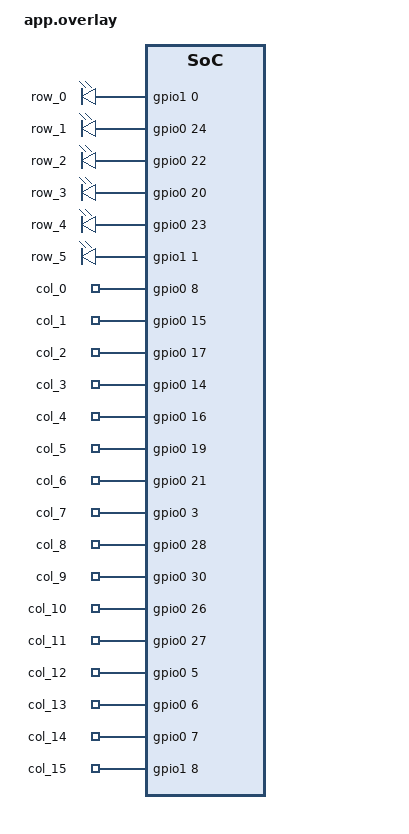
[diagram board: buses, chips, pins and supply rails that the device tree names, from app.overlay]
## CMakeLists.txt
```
cmake_minimum_required(VERSION 3.20.0)
find_package(Zephyr REQUIRED HINTS $ENV{ZEPHYR_BASE})

project(KeyBored_test)

include(${ZEPHYR_BASE}/samples/subsys/usb/common/common.cmake)

FILE(GLOB app_sources src/*.c)
target_sources(app PRIVATE
  ${app_sources}
  )
```

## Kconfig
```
# /* Copyright 2026 Nok Hin, Siu

# Licensed under the Apache License, Version 2.0 (the "License");
# you may not use this file except in compliance with the License.
# You may obtain a copy of the License at

#     http://www.apache.org/licenses/LICENSE-2.0

# Unless required by applicable law or agreed to in writing, software
# distributed under the License is distributed on an "AS IS" BASIS,
# WITHOUT WARRANTIES OR CONDITIONS OF ANY KIND, either express or implied.
# See the License for the specific language governing permissions and
# limitations under the License. */

config SAMPLE_USBD_REMOTE_WAKEUP
	default y

source "samples/subsys/usb/common/Kconfig.sample_usbd"

source "Kconfig.zephyr"
```

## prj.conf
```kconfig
CONFIG_MAIN_STACK_SIZE=10240
CONFIG_SYSTEM_WORKQUEUE_STACK_SIZE=10240
CONFIG_HEAP_MEM_POOL_SIZE=10240

CONFIG_USB_DEVICE_STACK_NEXT=y
CONFIG_USBD_HID_SUPPORT=y
CONFIG_SAMPLE_USBD_MANUFACTURER="GitHub: tomertomism"
CONFIG_SAMPLE_USBD_PRODUCT="KeyBored in USB"
CONFIG_SAMPLE_USBD_PID=0x0008

CONFIG_BT=y
CONFIG_BT_SMP=y
#CONFIG_BT_HOGP=y
CONFIG_BT_PERIPHERAL=y
CONFIG_BT_DEVICE_NAME="KeyBored in BLE"
CONFIG_BT_DEVICE_APPEARANCE=961
#CONFIG_BT_L2CAP_DYNAMIC_CHANNEL=y
#CONFIG_BT_ATT_PREPARE_COUNT=5
#CONFIG_BT_GATT_DYNAMIC_DB=y
CONFIG_BT_BAS=y

#CONFIG_BT_DIS=y
#CONFIG_BT_DIS_PNP=y
#CONFIG_BT_DIS_MODEL_NUMBER=n
#CONFIG_BT_DIS_MANUF_NAME_STR="GitHub: tomertomism"

CONFIG_BT_SETTINGS=y
CONFIG_BT_PRIVACY=y
CONFIG_FLASH=y
CONFIG_FLASH_MAP=y
CONFIG_NVS=y
CONFIG_SETTINGS=y

CONFIG_GPIO=y
CONFIG_ADC=y
#CONFIG_ADC_NRFX_SAADC=y
CONFIG_SENSOR=y
CONFIG_QDEC_NRFX=y

CONFIG_I2S=y
#CONFIG_I2S_NRFX=y
CONFIG_LED_STRIP=y
CONFIG_WS2812_STRIP_I2S=y

CONFIG_LOG=y
CONFIG_LOG_DEFAULT_LEVEL=2
#CONFIG_USBD_LOG_LEVEL_DBG=y
#CONFIG_USBD_HID_LOG_LEVEL_DBG=y
#CONFIG_UDC_DRIVER_LOG_LEVEL_DBG=y
#CONFIG_I2S_LOG_LEVEL_DBG=y
#CONFIG_LED_STRIP_LOG_LEVEL_DBG=y
#CONFIG_BT_HCI_ERR_TO_STR=y
#CONFIG_BT_SECURITY_ERR_TO_STR=y

CONFIG_WATCHDOG=y
CONFIG_TIMEOUT_64BIT=y
#CONFIG_REBOOT=y
```

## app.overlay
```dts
/* Copyright 2026 Nok Hin, Siu

Licensed under the Apache License, Version 2.0 (the "License");
you may not use this file except in compliance with the License.
You may obtain a copy of the License at

    http://www.apache.org/licenses/LICENSE-2.0

Unless required by applicable law or agreed to in writing, software
distributed under the License is distributed on an "AS IS" BASIS,
WITHOUT WARRANTIES OR CONDITIONS OF ANY KIND, either express or implied.
See the License for the specific language governing permissions and
limitations under the License. */

&pinctrl {
	uart0_default: uart0_default {
		group1 {
			psels = <NRF_PSEL(UART_TX, 1,  7)>,
				<NRF_PSEL(UART_RX, 1,  5)>;
		};
	};

	uart0_sleep: uart0_sleep {
		group1 {
			psels = <NRF_PSEL(UART_TX, 1,  7)>,
				<NRF_PSEL(UART_RX, 1,  5)>;
			low-power-enable;
		};
	};

	i2s_default: i2s_default {
		group1 {
			psels = <NRF_PSEL(I2S_SCK_M, 1, 11)>,
				<NRF_PSEL(I2S_SDOUT, 0,  2)>,
				<NRF_PSEL(I2S_LRCK_M, 1, 12)>;
		};
	};

	i2s_sleep: i2s_sleep {
		group1 {
			psels = <NRF_PSEL(I2S_SCK_M, 1, 11)>,
				<NRF_PSEL(I2S_SDOUT, 0,  2)>,
				<NRF_PSEL(I2S_LRCK_M, 1, 12)>;
			low-power-enable;
		};
	};
};

/ {
	hid_dev_0: hid_dev_0 {
		compatible = "zephyr,hid-device";
		label = "HID0";
		protocol-code = "keyboard";
		in-report-size = <64>;
		in-polling-period-us = <1000>;
		out-report-size = <64>;
		out-polling-period-us = <10000>;
	};

	row_scan_array: row_scan_array {
		compatible = "gpio-leds";
		// row_0  { gpios = <&gpio0  5 GPIO_ACTIVE_LOW>; };
		// row_1  { gpios = <&gpio0  6 GPIO_ACTIVE_LOW>; };
		// row_2  { gpios = <&gpio0  7 GPIO_ACTIVE_LOW>; };
		// row_3  { gpios = <&gpio0  8 GPIO_ACTIVE_LOW>; };
		// row_4  { gpios = <&gpio0  9 GPIO_ACTIVE_LOW>; };
		// row_5  { gpios = <&gpio0 10 GPIO_ACTIVE_LOW>; };

		row_0  { gpios = <&gpio1  0 (GPIO_PULL_DOWN | GPIO_ACTIVE_HIGH)>; };
		row_1  { gpios = <&gpio0 24 (GPIO_PULL_DOWN | GPIO_ACTIVE_HIGH)>; };
		row_2  { gpios = <&gpio0 22 (GPIO_PULL_DOWN | GPIO_ACTIVE_HIGH)>; };
		row_3  { gpios = <&gpio0 20 (GPIO_PULL_DOWN | GPIO_ACTIVE_HIGH)>; };
		row_4  { gpios = <&gpio0 23 (GPIO_PULL_DOWN | GPIO_ACTIVE_HIGH)>; };
		row_5  { gpios = <&gpio1  1 (GPIO_PULL_DOWN | GPIO_ACTIVE_HIGH)>; };
	};

	col_scan_array: col_scan_array {
		compatible = "gpio-keys";
		// col_0  { gpios = <&gpio1  0 (GPIO_PULL_DOWN | GPIO_ACTIVE_LOW)>; };
		// col_1  { gpios = <&gpio1  1 (GPIO_PULL_DOWN | GPIO_ACTIVE_LOW)>; };
		// col_2  { gpios = <&gpio1  2 (GPIO_PULL_DOWN | GPIO_ACTIVE_LOW)>; };
		// col_3  { gpios = <&gpio1  3 (GPIO_PULL_DOWN | GPIO_ACTIVE_LOW)>; };
		// col_4  { gpios = <&gpio1  4 (GPIO_PULL_DOWN | GPIO_ACTIVE_LOW)>; };
		// col_5  { gpios = <&gpio1  5 (GPIO_PULL_DOWN | GPIO_ACTIVE_LOW)>; };
		// col_6  { gpios = <&gpio1  6 (GPIO_PULL_DOWN | GPIO_ACTIVE_LOW)>; };
		// col_7  { gpios = <&gpio1  7 (GPIO_PULL_DOWN | GPIO_ACTIVE_LOW)>; };
		// col_8  { gpios = <&gpio1  8 (GPIO_PULL_DOWN | GPIO_ACTIVE_LOW)>; };
		// col_9  { gpios = <&gpio1  9 (GPIO_PULL_DOWN | GPIO_ACTIVE_LOW)>; };
		// col_10 { gpios = <&gpio1 10 (GPIO_PULL_DOWN | GPIO_ACTIVE_LOW)>; };
		// col_11 { gpios = <&gpio1 11 (GPIO_PULL_DOWN | GPIO_ACTIVE_LOW)>; };
		// col_12 { gpios = <&gpio1 12 (GPIO_PULL_DOWN | GPIO_ACTIVE_LOW)>; };
		// col_13 { gpios = <&gpio1 13 (GPIO_PULL_DOWN | GPIO_ACTIVE_LOW)>; };
		// col_14 { gpios = <&gpio1 14 (GPIO_PULL_DOWN | GPIO_ACTIVE_LOW)>; };
		// col_15 { gpios = <&gpio1 15 (GPIO_PULL_DOWN | GPIO_ACTIVE_LOW)>; };

		col_0  { gpios = <&gpio0  8 (GPIO_PULL_DOWN | GPIO_ACTIVE_HIGH)>; };
		col_1  { gpios = <&gpio0 15 (GPIO_PULL_DOWN | GPIO_ACTIVE_HIGH)>; };
		col_2  { gpios = <&gpio0 17 (GPIO_PULL_DOWN | GPIO_ACTIVE_HIGH)>; };
		col_3  { gpios = <&gpio0 14 (GPIO_PULL_DOWN | GPIO_ACTIVE_HIGH)>; };
		col_4  { gpios = <&gpio0 16 (GPIO_PULL_DOWN | GPIO_ACTIVE_HIGH)>; };
		col_5  { gpios = <&gpio0 19 (GPIO_PULL_DOWN | GPIO_ACTIVE_HIGH)>; };
		col_6  { gpios = <&gpio0 21 (GPIO_PULL_DOWN | GPIO_ACTIVE_HIGH)>; };
		col_7  { gpios = <&gpio0  3 (GPIO_PULL_DOWN | GPIO_ACTIVE_HIGH)>; };
		col_8  { gpios = <&gpio0 28 (GPIO_PULL_DOWN | GPIO_ACTIVE_HIGH)>; };
		col_9  { gpios = <&gpio0 30 (GPIO_PULL_DOWN | GPIO_ACTIVE_HIGH)>; };
		col_10 { gpios = <&gpio0 26 (GPIO_PULL_DOWN | GPIO_ACTIVE_HIGH)>; };
		col_11 { gpios = <&gpio0 27 (GPIO_PULL_DOWN | GPIO_ACTIVE_HIGH)>; };
		col_12 { gpios = <&gpio0  5 (GPIO_PULL_DOWN | GPIO_ACTIVE_HIGH)>; };
		col_13 { gpios = <&gpio0  6 (GPIO_PULL_DOWN | GPIO_ACTIVE_HIGH)>; };
		col_14 { gpios = <&gpio0  7 (GPIO_PULL_DOWN | GPIO_ACTIVE_HIGH)>; };
		col_15 { gpios = <&gpio1  8 (GPIO_PULL_DOWN | GPIO_ACTIVE_HIGH)>; };

		// col_0  { gpios = <&gpio0  8 (GPIO_PULL_UP | GPIO_ACTIVE_LOW)>; };
		// col_1  { gpios = <&gpio0 15 (GPIO_PULL_UP | GPIO_ACTIVE_LOW)>; };
		// col_2  { gpios = <&gpio0 17 (GPIO_PULL_UP | GPIO_ACTIVE_LOW)>; };
		// col_3  { gpios = <&gpio0 14 (GPIO_PULL_UP | GPIO_ACTIVE_LOW)>; };
		// col_4  { gpios = <&gpio0 16 (GPIO_PULL_UP | GPIO_ACTIVE_LOW)>; };
		// col_5  { gpios = <&gpio0 19 (GPIO_PULL_UP | GPIO_ACTIVE_LOW)>; };
		// col_6  { gpios = <&gpio0 21 (GPIO_PULL_UP | GPIO_ACTIVE_LOW)>; };
		// col_7  { gpios = <&gpio0 23 (GPIO_PULL_UP | GPIO_ACTIVE_LOW)>; };
		// col_8  { gpios = <&gpio0 20 (GPIO_PULL_UP | GPIO_ACTIVE_LOW)>; };
		// col_9  { gpios = <&gpio0 22 (GPIO_PULL_UP | GPIO_ACTIVE_LOW)>; };
		// col_10 { gpios = <&gpio0 24 (GPIO_PULL_UP | GPIO_ACTIVE_LOW)>; };
		// col_11 { gpios = <&gpio1  0 (GPIO_PULL_UP | GPIO_ACTIVE_LOW)>; };
		// col_12 { gpios = <&gpio1  1 (GPIO_PULL_UP | GPIO_ACTIVE_LOW)>; };
		// col_13 { gpios = <&gpio0 25 (GPIO_PULL_UP | GPIO_ACTIVE_LOW)>; };
		// col_14 { gpios = <&gpio1  3 (GPIO_PULL_UP | GPIO_ACTIVE_LOW)>; };
		// col_15 { gpios = <&gpio0 29 (GPIO_PULL_UP | GPIO_ACTIVE_LOW)>; };
	};

};

// &uart0 {
//   pinctrl-0 = <&uart0_alt_default>;
//   pinctrl-1 = <&uart0_alt_sleep>;
// };
```

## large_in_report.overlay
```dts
/* Copyright 2026 Nok Hin, Siu

Licensed under the Apache License, Version 2.0 (the "License");
you may not use this file except in compliance with the License.
You may obtain a copy of the License at

    http://www.apache.org/licenses/LICENSE-2.0

Unless required by applicable law or agreed to in writing, software
distributed under the License is distributed on an "AS IS" BASIS,
WITHOUT WARRANTIES OR CONDITIONS OF ANY KIND, either express or implied.
See the License for the specific language governing permissions and
limitations under the License. */

/ {
	hid_dev_0: hid_dev_0 {
		compatible = "zephyr,hid-device";
		label = "HID0";
		in-report-size = <512>;
		in-polling-period-us = <1000>;
	};
};
```

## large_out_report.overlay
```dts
/* Copyright 2026 Nok Hin, Siu

Licensed under the Apache License, Version 2.0 (the "License");
you may not use this file except in compliance with the License.
You may obtain a copy of the License at

    http://www.apache.org/licenses/LICENSE-2.0

Unless required by applicable law or agreed to in writing, software
distributed under the License is distributed on an "AS IS" BASIS,
WITHOUT WARRANTIES OR CONDITIONS OF ANY KIND, either express or implied.
See the License for the specific language governing permissions and
limitations under the License. */

#include "large_in_report.overlay"

/ {
	hid_dev_0: hid_dev_0 {
		compatible = "zephyr,hid-device";
		out-report-size = <512>;
		out-polling-period-us = <1000>;
	};
};
```

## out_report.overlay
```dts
/* Copyright 2026 Nok Hin, Siu

Licensed under the Apache License, Version 2.0 (the "License");
you may not use this file except in compliance with the License.
You may obtain a copy of the License at

    http://www.apache.org/licenses/LICENSE-2.0

Unless required by applicable law or agreed to in writing, software
distributed under the License is distributed on an "AS IS" BASIS,
WITHOUT WARRANTIES OR CONDITIONS OF ANY KIND, either express or implied.
See the License for the specific language governing permissions and
limitations under the License. */

#include "app.overlay"

/ {
	hid_dev_0: hid_dev_0 {
		compatible = "zephyr,hid-device";
		out-report-size = <64>;
		out-polling-period-us = <1000>;
	};
};
```

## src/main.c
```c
/* Copyright 2026 Nok Hin, Siu

Licensed under the Apache License, Version 2.0 (the "License");
you may not use this file except in compliance with the License.
You may obtain a copy of the License at

    http://www.apache.org/licenses/LICENSE-2.0

Unless required by applicable law or agreed to in writing, software
distributed under the License is distributed on an "AS IS" BASIS,
WITHOUT WARRANTIES OR CONDITIONS OF ANY KIND, either express or implied.
See the License for the specific language governing permissions and
limitations under the License. */

#include <sample_usbd.h>

#include <zephyr/kernel/thread.h>
#include <zephyr/device.h>
#include <zephyr/drivers/adc.h>
#include <zephyr/devicetree.h>
#include <zephyr/usb/usbd.h>
#include <zephyr/usb/class/usbd_hid.h>

#include "../inc/editable.h"
#include "../inc/kb_cb.h"
#include "../inc/kb_bt_cb.h"
#include "../inc/main.h"
#include "../inc/keymap_lut.h"
#include "../inc/kb_adc.h"
#include "../inc/kb_scan.h"
#include "../inc/kb_led.h"

#include <zephyr/logging/log.h>
LOG_MODULE_REGISTER(main, LOG_LEVEL_INF);

static const struct device *hid_dev = DEVICE_DT_GET_ONE(zephyr_hid_device);
//static const struct device *adc = DEVICE_DT_GET_ONE(adc);

int main(void){
  int ret = 0;
  struct usbd_context *sample_usbd = 0;
  scan_cfg1.push_report = kb_report_push_usb;
  usb_init(sample_usbd);
  k_msleep(900);

  if (!is_usb_ready) {
    scan_cfg1.push_report = kb_report_push_ble;
    ret = bt_init();
    if (ret) {
      LOG_ERR("BT init failed");
      return 0;
    }
  }

  while (1) {
    k_sleep(K_TICKS(K_TICKS_FOREVER));
  }
  return 0;
}

int usb_init(struct usbd_context *sample_usbd){
  int8_t ret;

  if (!device_is_ready(hid_dev)) {
    LOG_ERR("HID Device is not ready");
    return -EIO;
  }

  k_msleep(100);
  ret = hid_device_register(hid_dev, hid_report_desc, sizeof(hid_report_desc), &kb_ops);
  if (ret != 0) {
    LOG_ERR("Failed to register HID Device, %d", ret);
    return ret;
  }

  sample_usbd = sample_usbd_init_device(msg_cb);
  if (sample_usbd == NULL) {
    LOG_ERR("Failed to initialize USB device");
    return -ENODEV;
  }else
    LOG_INF("sample_usbd: %#08x", (uint32_t) sample_usbd);
  
  if (!usbd_can_detect_vbus(sample_usbd)) {
    /* doc device enable start */
    ret = usbd_enable(sample_usbd);
    if (ret) {
      LOG_ERR("Failed to enable device support");
      return ret;
    }
    /* doc device enable end */
  }
  return ret;
}

int bt_init(){
  int err = 0;

  err = bt_enable(bt_ready);
  if (err) {
    LOG_ERR("Bluetooth init failed (err %d)", err);
    return 0;
  }

  return err;
}
```

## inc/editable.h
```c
/* Copyright 2026 Nok Hin, Siu

Licensed under the Apache License, Version 2.0 (the "License");
you may not use this file except in compliance with the License.
You may obtain a copy of the License at

    http://www.apache.org/licenses/LICENSE-2.0

Unless required by applicable law or agreed to in writing, software
distributed under the License is distributed on an "AS IS" BASIS,
WITHOUT WARRANTIES OR CONDITIONS OF ANY KIND, either express or implied.
See the License for the specific language governing permissions and
limitations under the License. */

#pragma once

#include <stdint.h>

static const uint8_t hid_report_desc[] = {
  0x05, 0x01,                     //  Usage Page (Generic Desktop)
  0x09, 0x06,                     //  Usage (Keyboard)
  0xA1, 0x01,                     //  Collection (Application)

  0x85, 0x01,                     //  Report ID 1

  0x05, 0x07,                     //  Usage Page (Key Codes)
  0x19, 0xe0,                     //  Usage Minimum (Keyboard LeftControl)
  0x29, 0xe7,                     //  Usage Maximum (Keyboard Right GUI)
  0x15, 0x00,                     //  Logical Minimum (0)
  0x25, 0x01,                     //  Logical Maximum (1)
  0x75, 0x01,                     //  Report Size (1 bit)
  0x95, 0x08,                     //  Report Count (8 bits)
  0x81, 0x02,                     //  Input (Data, Variable, Absolute)

  0x05, 0x08,                     //  Usage Page (LEDs)
  0x19, 0x01,                     //  Usage Minimum (Num Lock)
  0x29, 0x05,                     //  Usage Maximum (Kana)
  0x75, 0x01,                     //  Report Size (1)
  0x95, 0x05,                     //  Report Count (5)
  0x91, 0x02,                     //  Output (Data, Variable, Absolute)
  0x75, 0x03,                     //  Report Size (3)
  0x95, 0x01,                     //  Report Count (1)
  0x91, 0x03,                     //  Output (Constant, Variable, Absolute)

  0x05, 0x07,                     //  Usage Page (Key codes)
  0x19, 0x00,                     //  Usage Minimum (Reserved (no event indicated))
  0x29, 0xff,                     //  Usage Maxium (Reserved)a
  0x75, 0x08,                     //  Report Size (8)
  0x95, 0x06,                     //  Report Count (6)
  0x81, 0x00,                     //  Input (Data, Array)
  0xc0,                           //  End collection

  0x05, 0x0C,                     //  Usage Page (Consumer Devices)
  0x09, 0x01,                     //  Usage (Consumer Control)
  0xA1, 0x01,                     //  Collection (Application)

  0x85, 0x02,                     //  Report ID 2

  0x19, 0x00,                     //  Usage Minimum (Reserved (no event indicated))
  0x29, 0xFF,                     //  Usage Maxium (Reserved)
  0x75, 0x08,                     //  Report Size (8)
  0x95, 0x01,                     //  Report Count (1)
  0x81, 0x00,                     //  Input (Data, Ary, Abs)

  0xc0                            //  End collections
};

enum kb_report_id1_idx {
  KB1_REPORT_ID = 0,
  KB1_MOD_KEY,
  KB1_KEY_CODE1,
  KB1_KEY_CODE2,
  KB1_KEY_CODE3,
  KB1_KEY_CODE4,
  KB1_KEY_CODE5,
  KB1_KEY_CODE6,
  KB1_REPORT_COUNT
};

enum kb_report_id2_idx {
  KB2_REPORT_ID = 0,
  KB2_KEY_CODE1,
  KB2_REPORT_COUNT,
};

#define NUMBER_OF_REPORTS 2

/*==kb_cb====================================================================================*/
#define KB_EP_00_REPORT_SIZE 2

/*==kb_bt_cb=================================================================================*/
#define BT_GATT_REPORTS_SERVICE \
  BT_GATT_DESCRIPTOR(BT_UUID_HIDS_REPORT_REF, BT_GATT_PERM_READ, read_report, NULL, &input[0]), \
  BT_GATT_DESCRIPTOR(BT_UUID_HIDS_REPORT_REF, BT_GATT_PERM_READ, read_report, NULL, &input[1])

#define BT_PUSH_REPORTS_PRECHECK !(!report[0] || report[0] <= ARRAY_SIZE(input))

/*==kb_scan==================================================================================*/
#define KB_SCAN_KEY_CB \
  keymap[5][ 1].on_set = kb_scan_fn_gui_set;\
  keymap[5][10].on_set = kb_scan_fn_set;\
  keymap[5][13].on_set = kb_scan_fn_arrow_lt_set;\
  keymap[5][14].on_set = kb_scan_fn_arrow_dn_set;\
  keymap[5][15].on_set = kb_scan_fn_arrow_rt_set;\
  keymap[4][14].on_set = kb_scan_fn_arrow_up_set;\
  keymap[0][11].on_set = kb_scan_fn_f9_set;\
  keymap[0][12].on_set = kb_scan_fn_f10_set;\
  keymap[0][13].on_set = kb_scan_fn_f11_set;\
  keymap[0][14].on_set = kb_scan_fn_f12_set;

void kb_scan_fn_gui_set(void);
void kb_scan_fn_gui_reset(void);
void kb_scan_fn_set(void);
void kb_scan_fn_reset(void);
void kb_scan_fn_arrow_up_set(void);
void kb_scan_fn_arrow_dn_set(void);
void kb_scan_fn_arrow_lt_set(void);
void kb_scan_fn_arrow_rt_set(void);
void kb_scan_fn_arrow_all_reset(void);
void kb_scan_fn_f9_set(void);
void kb_scan_fn_f10_set(void);
void kb_scan_fn_f11_set(void);
void kb_scan_fn_f12_set(void);
void kb_scan_fn_f_all_reset(void);

/*==kb_led===================================================================================*/
#define use_1
//#define use_2

#define KB_LED_MODE_ARRAY \
  kb_led_mode_0, \
  kb_led_mode_1, \
  kb_led_mode_2, \
  kb_led_mode_3, \
  kb_led_mode_4

void kb_led_mode_0(void);
void kb_led_mode_1(void);
void kb_led_mode_2(void);
void kb_led_mode_3(void);
void kb_led_mode_4(void);
```

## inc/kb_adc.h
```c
/* Copyright 2026 Nok Hin, Siu

Licensed under the Apache License, Version 2.0 (the "License");
you may not use this file except in compliance with the License.
You may obtain a copy of the License at

    http://www.apache.org/licenses/LICENSE-2.0

Unless required by applicable law or agreed to in writing, software
distributed under the License is distributed on an "AS IS" BASIS,
WITHOUT WARRANTIES OR CONDITIONS OF ANY KIND, either express or implied.
See the License for the specific language governing permissions and
limitations under the License. */

#pragma once

#include <stdint.h>

int8_t kb_adc_init();
```

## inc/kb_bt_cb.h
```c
/* Copyright 2026 Nok Hin, Siu

Licensed under the Apache License, Version 2.0 (the "License");
you may not use this file except in compliance with the License.
You may obtain a copy of the License at

    http://www.apache.org/licenses/LICENSE-2.0

Unless required by applicable law or agreed to in writing, software
distributed under the License is distributed on an "AS IS" BASIS,
WITHOUT WARRANTIES OR CONDITIONS OF ANY KIND, either express or implied.
See the License for the specific language governing permissions and
limitations under the License. */

#pragma once

#include <zephyr/types.h>
#include <stddef.h>
#include <string.h>
#include <errno.h>
#include <zephyr/sys/byteorder.h>
#include <zephyr/kernel.h>

#include <zephyr/settings/settings.h>

#include <zephyr/bluetooth/bluetooth.h>
#include <zephyr/bluetooth/hci.h>
#include <zephyr/bluetooth/conn.h>
#include <zephyr/bluetooth/uuid.h>
#include <zephyr/bluetooth/gatt.h>

#include "../inc/editable.h"

extern const struct bt_data ad[];
extern const struct bt_data sd[];
extern uint8_t is_using_ble;

void connected(struct bt_conn *conn, uint8_t err);
void disconnected(struct bt_conn *conn, uint8_t reason);
void security_changed(struct bt_conn *conn, bt_security_t level, enum bt_security_err err);

void bt_ready(int err);
void auth_passkey_display(struct bt_conn *conn, unsigned int passkey);
void auth_cancel(struct bt_conn *conn);
extern struct bt_conn_auth_cb auth_cb_display;

extern struct hids_info info;
ssize_t read_info(struct bt_conn *conn, const struct bt_gatt_attr *attr, void *buf, uint16_t len, uint16_t offset);
ssize_t read_report_map(struct bt_conn *conn, const struct bt_gatt_attr *attr, void *buf, uint16_t len, uint16_t offset);
ssize_t read_report(struct bt_conn *conn, const struct bt_gatt_attr *attr, void *buf, uint16_t len, uint16_t offset);
void input_ccc_changed(const struct bt_gatt_attr *attr, uint16_t value);
ssize_t read_input_report(struct bt_conn *conn, const struct bt_gatt_attr *attr, void *buf, uint16_t len, uint16_t offset);
ssize_t write_ctrl_point(struct bt_conn *conn, const struct bt_gatt_attr *attr, const void *buf, uint16_t len, uint16_t offset, uint8_t flags);

// void hog_button_loop(void);
int8_t kb_bt_send_report_id(uint8_t *report, uint8_t size, k_ticks_t delay);

// #define SAMPLE_BT_PERM_READ BT_GATT_PERM_READ_AUTHEN
// #define SAMPLE_BT_PERM_WRITE BT_GATT_PERM_WRITE_AUTHEN

#define SAMPLE_BT_PERM_READ BT_GATT_PERM_READ_ENCRYPT
#define SAMPLE_BT_PERM_WRITE BT_GATT_PERM_WRITE_ENCRYPT

// #define SAMPLE_BT_PERM_READ BT_GATT_PERM_READ
// #define SAMPLE_BT_PERM_WRITE BT_GATT_PERM_WRITE

enum {
	HIDS_REMOTE_WAKE = BIT(0),
	HIDS_NORMALLY_CONNECTABLE = BIT(1),
};

struct hids_info {
	uint16_t version; /* version number of base USB HID Specification */
	uint8_t code; /* country HID Device hardware is localized for. */
	uint8_t flags;
} __packed;

struct hids_report {
	uint8_t id; /* report id */
	uint8_t type; /* report type */
} __packed;

enum {
	HIDS_INPUT = 0x01,
	HIDS_OUTPUT = 0x02,
	HIDS_FEATURE = 0x03,
};

extern struct hids_report input[NUMBER_OF_REPORTS];
extern uint8_t ctrl_point;
extern uint8_t is_ble_ready;
```

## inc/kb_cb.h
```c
/* Copyright 2026 Nok Hin, Siu

Licensed under the Apache License, Version 2.0 (the "License");
you may not use this file except in compliance with the License.
You may obtain a copy of the License at

    http://www.apache.org/licenses/LICENSE-2.0

Unless required by applicable law or agreed to in writing, software
distributed under the License is distributed on an "AS IS" BASIS,
WITHOUT WARRANTIES OR CONDITIONS OF ANY KIND, either express or implied.
See the License for the specific language governing permissions and
limitations under the License. */

#pragma once

#include <stdint.h>
#include <stdlib.h>
#include <stdbool.h>
#include <zephyr/usb/usbd.h>
#include <zephyr/usb/class/usbd_hid.h>

#include "../inc/editable.h"

extern const struct hid_device_ops kb_ops;

extern uint32_t kb_duration;
extern bool is_usb_ready;

#define KB_EP_00_REPORT_SET 0x80
extern uint8_t kb_ep_00_report[KB_EP_00_REPORT_SIZE];

void msg_cb(struct usbd_context *const usbd_ctx, const struct usbd_msg *const msg);
void kb_iface_ready(const struct device *dev, const bool ready);
int kb_get_report(const struct device *dev, const uint8_t type, const uint8_t id, const uint16_t len, uint8_t *const buf);
int kb_set_report(const struct device *dev, const uint8_t type, const uint8_t id, const uint16_t len, const uint8_t *const buf);
void kb_set_idle(const struct device *dev, const uint8_t id, const uint32_t duration);
uint32_t kb_get_idle(const struct device *dev, const uint8_t id);
void kb_set_protocol(const struct device *dev, const uint8_t proto);
void kb_output_report(const struct device *dev, const uint16_t len, const uint8_t *const buf);
```

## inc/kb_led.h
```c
/* Copyright 2026 Nok Hin, Siu

Licensed under the Apache License, Version 2.0 (the "License");
you may not use this file except in compliance with the License.
You may obtain a copy of the License at

    http://www.apache.org/licenses/LICENSE-2.0

Unless required by applicable law or agreed to in writing, software
distributed under the License is distributed on an "AS IS" BASIS,
WITHOUT WARRANTIES OR CONDITIONS OF ANY KIND, either express or implied.
See the License for the specific language governing permissions and
limitations under the License. */

#pragma once

#include <zephyr/sys_clock.h>
#include <zephyr/drivers/led_strip.h>
#include <zephyr/fs/fs.h>
#include <zephyr/fs/nvs.h>
#include <zephyr/drivers/flash.h>
#include <zephyr/storage/flash_map.h>
#include <stdint.h>

#include "../inc/editable.h"

#define LUT_SIZE 360

enum kb_led_brightness{
  KB_LED_BRT_0 = 0,
  KB_LED_BRT_1 = 3,
  KB_LED_BRT_2 = 11,
  KB_LED_BRT_3 = 25,
  KB_LED_BRT_4 = 45,
  KB_LED_BRT_5 = 70,
  KB_LED_BRT_6 = 100
};

typedef struct {
  uint8_t mode;
  uint16_t speed_delay;
  uint16_t hue_angle_seed;
  uint8_t brightness_idx;
  struct led_rgb colour[DT_PROP(DT_NODELABEL(led_strip), chain_length)];
}__packed(kb_led_t);

extern kb_led_t led_cfg1;
extern struct nvs_fs nvs_cfg1;

void kb_run_led(void);

void kb_led_brt_inc(void);
void kb_led_brt_dec(void);
void kb_led_spd_inc(void);
void kb_led_spd_dec(void);
void kb_led_mod_inc(void);
void kb_led_mod_dec(void);
void kb_led_hue_inc(void);
void kb_led_hue_dec(void);

static const uint8_t hue2r[LUT_SIZE] = {
#if defined (use_1)
  255, 255, 255, 255, 255, 255, 255, 255, 255, 255, 255, 255,
  255, 255, 255, 255, 255, 255, 255, 255, 255, 255, 255, 255,
  255, 255, 255, 255, 255, 255, 255, 255, 255, 255, 255, 255,
  255, 255, 255, 255, 255, 255, 255, 255, 255, 255, 255, 255,
  255, 255, 255, 255, 255, 255, 255, 255, 255, 255, 255, 255,
  255, 251, 246, 242, 238, 234, 229, 225, 221, 217, 212, 208,
  204, 200, 195, 191, 187, 183, 178, 174, 170, 166, 161, 157,
  153, 149, 144, 140, 136, 132, 127, 123, 119, 115, 110, 106,
  102,  98,  93,  89,  85,  81,  76,  72,  68,  64,  59,  55,
   51,  47,  42,  38,  34,  30,  25,  21,  17,  13,   8,   4,
    0,   0,   0,   0,   0,   0,   0,   0,   0,   0,   0,   0,
    0,   0,   0,   0,   0,   0,   0,   0,   0,   0,   0,   0,
    0,   0,   0,   0,   0,   0,   0,   0,   0,   0,   0,   0,
    0,   0,   0,   0,   0,   0,   0,   0,   0,   0,   0,   0,
    0,   0,   0,   0,   0,   0,   0,   0,   0,   0,   0,   0,
    0,   0,   0,   0,   0,   0,   0,   0,   0,   0,   0,   0,
    0,   0,   0,   0,   0,   0,   0,   0,   0,   0,   0,   0,
    0,   0,   0,   0,   0,   0,   0,   0,   0,   0,   0,   0,
    0,   0,   0,   0,   0,   0,   0,   0,   0,   0,   0,   0,
    0,   0,   0,   0,   0,   0,   0,   0,   0,   0,   0,   0,
    0,   4,   8,  13,  17,  21,  25,  30,  34,  38,  42,  47,
   51,  55,  59,  64,  68,  72,  76,  81,  85,  89,  93,  98,
  102, 106, 110, 115, 119, 123, 127, 132, 136, 140, 144, 149,
  153, 157, 161, 166, 170, 174, 178, 183, 187, 191, 195, 200,
  204, 208, 212, 217, 221, 225, 229, 234, 238, 242, 246, 251,
  255, 255, 255, 255, 255, 255, 255, 255, 255, 255, 255, 255,
  255, 255, 255, 255, 255, 255, 255, 255, 255, 255, 255, 255,
  255, 255, 255, 255, 255, 255, 255, 255, 255, 255, 255, 255,
  255, 255, 255, 255, 255, 255, 255, 255, 255, 255, 255, 255,
  255, 255, 255, 255, 255, 255, 255, 255, 255, 255, 255, 255
#endif
#if defined(use_2)
  255, 255, 255, 255, 255, 255, 255, 255, 255, 255, 255, 255,
  255, 255, 255, 255, 255, 255, 255, 255, 255, 255, 255, 255,
  255, 255, 255, 255, 255, 255, 255, 255, 255, 255, 255, 255,
  255, 255, 255, 255, 255, 255, 255, 255, 255, 255, 255, 255,
  255, 255, 255, 255, 255, 255, 255, 255, 255, 255, 255, 255,
  255, 248, 241, 234, 227, 220, 214, 207, 201, 194, 188, 182,
  176, 170, 164, 158, 152, 147, 141, 136, 130, 125, 120, 115,
  110, 105, 100,  96,  91,  87,  82,  78,  74,  70,  66,  62,
   58,  55,  51,  48,  44,  41,  38,  35,  32,  29,  27,  24,
   22,  19,  17,  15,  13,  12,  10,   8,   7,   6,   4,   3,
    2,   1,   0,   0,   0,   0,   0,   0,   0,   0,   0,   0,
    0,   0,   0,   0,   0,   0,   0,   0,   0,   0,   0,   0,
    0,   0,   0,   0,   0,   0,   0,   0,   0,   0,   0,   0,
    0,   0,   0,   0,   0,   0,   0,   0,   0,   0,   0,   0,
    0,   0,   0,   0,   0,   0,   0,   0,   0,   0,   0,   0,
    0,   0,   0,   0,   0,   0,   0,   0,   0,   0,   0,   0,
    0,   0,   0,   0,   0,   0,   0,   0,   0,   0,   0,   0,
    0,   0,   0,   0,   0,   0,   0,   0,   0,   0,   0,   0,
    0,   0,   0,   0,   0,   0,   0,   0,   0,   0,   0,   0,
    0,   0,   0,   0,   0,   0,   0,   0,   0,   0,   0,   0,
    0,   1,   2,   3,   4,   6,   7,   8,  10,  12,  13,  15,
   17,  19,  22,  24,  27,  29,  32,  35,  38,  41,  44,  48,
   51,  55,  58,  62,  66,  70,  74,  78,  82,  87,  91,  96,
  100, 105, 110, 115, 120, 125, 130, 136, 141, 147, 152, 158,
  164, 170, 176, 182, 188, 194, 201, 207, 214, 220, 227, 234,
  241, 248, 255, 255, 255, 255, 255, 255, 255, 255, 255, 255,
  255, 255, 255, 255, 255, 255, 255, 255, 255, 255, 255, 255,
  255, 255, 255, 255, 255, 255, 255, 255, 255, 255, 255, 255,
  255, 255, 255, 255, 255, 255, 255, 255, 255, 255, 255, 255,
  255, 255, 255, 255, 255, 255, 255, 255, 255, 255, 255, 255
#endif
};

static const uint8_t hue2g[LUT_SIZE] = {
#if defined(use_1)
    0,   4,   8,  13,  17,  21,  25,  30,  34,  38,  42,  47,
   51,  55,  59,  64,  68,  72,  76,  81,  85,  89,  93,  98,
  102, 106, 110, 115, 119, 123, 127, 132, 136, 140, 144, 149,
  153, 157, 161, 166, 170, 174, 178, 183, 187, 191, 195, 200,
  204, 208, 212, 217, 221, 225, 229, 234, 238, 242, 246, 251,
  255, 255, 255, 255, 255, 255, 255, 255, 255, 255, 255, 255,
  255, 255, 255, 255, 255, 255, 255, 255, 255, 255, 255, 255,
  255, 255, 255, 255, 255, 255, 255, 255, 255, 255, 255, 255,
  255, 255, 255, 255, 255, 255, 255, 255, 255, 255, 255, 255,
  255, 255, 255, 255, 255, 255, 255, 255, 255, 255, 255, 255,
  255, 251, 246, 242, 238, 234, 229, 225, 221, 217, 212, 208,
  204, 200, 195, 191, 187, 183, 178, 174, 170, 166, 161, 157,
  153, 149, 144, 140, 136, 132, 127, 123, 119, 115, 110, 106,
  102,  98,  93,  89,  85,  81,  76,  72,  68,  64,  59,  55,
   51,  47,  42,  38,  34,  30,  25,  21,  17,  13,   8,   4,
    0,   0,   0,   0,   0,   0,   0,   0,   0,   0,   0,   0,
    0,   0,   0,   0,   0,   0,   0,   0,   0,   0,   0,   0,
    0,   0,   0,   0,   0,   0,   0,   0,   0,   0,   0,   0,
    0,   0,   0,   0,   0,   0,   0,   0,   0,   0,   0,   0,
    0,   0,   0,   0,   0,   0,   0,   0,   0,   0,   0,   0,
    0,   0,   0,   0,   0,   0,   0,   0,   0,   0,   0,   0,
    0,   0,   0,   0,   0,   0,   0,   0,   0,   0,   0,   0,
    0,   0,   0,   0,   0,   0,   0,   0,   0,   0,   0,   0,
    0,   0,   0,   0,   0,   0,   0,   0,   0,   0,   0,   0,
    0,   0,   0,   0,   0,   0,   0,   0,   0,   0,   0,   0,
    0,   0,   0,   0,   0,   0,   0,   0,   0,   0,   0,   0,
    0,   0,   0,   0,   0,   0,   0,   0,   0,   0,   0,   0,
    0,   0,   0,   0,   0,   0,   0,   0,   0,   0,   0,   0,
    0,   0,   0,   0,   0,   0,   0,   0,   0,   0,   0,   0,
    0,   0,   0,   0,   0,   0,   0,   0,   0,   0,   0,   0
#endif
#if defined(use_2)
    0,   1,   2,   3,   4,   6,   7,   8,  10,  12,  13,  15,
   17,  19,  22,  24,  27,  29,  32,  35,  38,  41,  44,  48,
   51,  55,  58,  62,  66,  70,  74,  78,  82,  87,  91,  96,
  100, 105, 110, 115, 120, 125, 130, 136, 141, 147, 152, 158,
  164, 170, 176, 182, 188, 194, 201, 207, 214, 220, 227, 234,
  241, 248, 255, 255, 255, 255, 255, 255, 255, 255, 255, 255,
  255, 255, 255, 255, 255, 255, 255, 255, 255, 255, 255, 255,
  255, 255, 255, 255, 255, 255, 255, 255, 255, 255, 255, 255,
  255, 255, 255, 255, 255, 255, 255, 255, 255, 255, 255, 255,
  255, 255, 255, 255, 255, 255, 255, 255, 255, 255, 255, 255,
  255, 248, 241, 234, 227, 220, 214, 207, 201, 194, 188, 182,
  176, 170, 164, 158, 152, 147, 141, 136, 130, 125, 120, 115,
  110, 105, 100,  96,  91,  87,  82,  78,  74,  70,  66,  62,
   58,  55,  51,  48,  44,  41,  38,  35,  32,  29,  27,  24,
   22,  19,  17,  15,  13,  12,  10,   8,   7,   6,   4,   3,
    2,   1,   0,   0,   0,   0,   0,   0,   0,   0,   0,   0,
    0,   0,   0,   0,   0,   0,   0,   0,   0,   0,   0,   0,
    0,   0,   0,   0,   0,   0,   0,   0,   0,   0,   0,   0,
    0,   0,   0,   0,   0,   0,   0,   0,   0,   0,   0,   0,
    0,   0,   0,   0,   0,   0,   0,   0,   0,   0,   0,   0,
    0,   0,   0,   0,   0,   0,   0,   0,   0,   0,   0,   0,
    0,   0,   0,   0,   0,   0,   0,   0,   0,   0,   0,   0,
    0,   0,   0,   0,   0,   0,   0,   0,   0,   0,   0,   0,
    0,   0,   0,   0,   0,   0,   0,   0,   0,   0,   0,   0,
    0,   0,   0,   0,   0,   0,   0,   0,   0,   0,   0,   0,
    0,   0,   0,   0,   0,   0,   0,   0,   0,   0,   0,   0,
    0,   0,   0,   0,   0,   0,   0,   0,   0,   0,   0,   0,
    0,   0,   0,   0,   0,   0,   0,   0,   0,   0,   0,   0,
    0,   0,   0,   0,   0,   0,   0,   0,   0,   0,   0,   0,
    0,   0,   0,   0,   0,   0,   0,   0,   0,   0,   0,   0
#endif
};

static const uint8_t hue2b[LUT_SIZE] = {
#if defined(use_1)
    0,   0,   0,   0,   0,   0,   0,   0,   0,   0,   0,   0,
    0,   0,   0,   0,   0,   0,   0,   0,   0,   0,   0,   0,
    0,   0,   0,   0,   0,   0,   0,   0,   0,   0,   0,   0,
    0,   0,   0,   0,   0,   0,   0,   0,   0,   0,   0,   0,
    0,   0,   0,   0,   0,   0,   0,   0,   0,   0,   0,   0,
    0,   0,   0,   0,   0,   0,   0,   0,   0,   0,   0,   0,
    0,   0,   0,   0,   0,   0,   0,   0,   0,   0,   0,   0,
    0,   0,   0,   0,   0,   0,   0,   0,   0,   0,   0,   0,
    0,   0,   0,   0,   0,   0,   0,   0,   0,   0,   0,   0,
    0,   0,   0,   0,   0,   0,   0,   0,   0,   0,   0,   0,
    0,   4,   8,  13,  17,  21,  25,  30,  34,  38,  42,  47,
   51,  55,  59,  64,  68,  72,  76,  81,  85,  89,  93,  98,
  102, 106, 110, 115, 119, 123, 127, 132, 136, 140, 144, 149,
  153, 157, 161, 166, 170, 174, 178, 183, 187, 191, 195, 200,
  204, 208, 212, 217, 221, 225, 229, 234, 238, 242, 246, 251,
  255, 255, 255, 255, 255, 255, 255, 255, 255, 255, 255, 255,
  255, 255, 255, 255, 255, 255, 255, 255, 255, 255, 255, 255,
  255, 255, 255, 255, 255, 255, 255, 255, 255, 255, 255, 255,
  255, 255, 255, 255, 255, 255, 255, 255, 255, 255, 255, 255,
  255, 255, 255, 255, 255, 255, 255, 255, 255, 255, 255, 255,
  255, 251, 246, 242, 238, 234, 229, 225, 221, 217, 212, 208,
  204, 200, 195, 191, 187, 183, 178, 174, 170, 166, 161, 157,
  153, 149, 144, 140, 136, 132, 127, 123, 119, 115, 110, 106,
  102,  98,  93,  89,  85,  81,  76,  72,  68,  64,  59,  55,
   51,  47,  42,  38,  34,  30,  25,  21,  17,  13,   8,   4,
    0,   0,   0,   0,   0,   0,   0,   0,   0,   0,   0,   0,
    0,   0,   0,   0,   0,   0,   0,   0,   0,   0,   0,   0,
    0,   0,   0,   0,   0,   0,   0,   0,   0,   0,   0,   0,
    0,   0,   0,   0,   0,   0,   0,   0,   0,   0,   0,   0,
    0,   0,   0,   0,   0,   0,   0,   0,   0,   0,   0,   0
#endif
#if defined(use_2)
    0,   0,   0,   0,   0,   0,   0,   0,   0,   0,   0,   0,
    0,   0,   0,   0,   0,   0,   0,   0,   0,   0,   0,   0,
    0,   0,   0,   0,   0,   0,   0,   0,   0,   0,   0,   0,
    0,   0,   0,   0,   0,   0,   0,   0,   0,   0,   0,   0,
    0,   0,   0,   0,   0,   0,   0,   0,   0,   0,   0,   0,
    0,   0,   0,   0,   0,   0,   0,   0,   0,   0,   0,   0,
    0,   0,   0,   0,   0,   0,   0,   0,   0,   0,   0,   0,
    0,   0,   0,   0,   0,   0,   0,   0,   0,   0,   0,   0,
    0,   0,   0,   0,   0,   0,   0,   0,   0,   0,   0,   0,
    0,   0,   0,   0,   0,   0,   0,   0,   0,   0,   0,   0,
    0,   1,   2,   3,   4,   6,   7,   8,  10,  12,  13,  15,
   17,  19,  22,  24,  27,  29,  32,  35,  38,  41,  44,  48,
   51,  55,  58,  62,  66,  70,  74,  78,  82,  87,  91,  96,
  100, 105, 110, 115, 120, 125, 130, 136, 141, 147, 152, 158,
  164, 170, 176, 182, 188, 194, 201, 207, 214, 220, 227, 234,
  241, 248, 255, 255, 255, 255, 255, 255, 255, 255, 255, 255,
  255, 255, 255, 255, 255, 255, 255, 255, 255, 255, 255, 255,
  255, 255, 255, 255, 255, 255, 255, 255, 255, 255, 255, 255,
  255, 255, 255, 255, 255, 255, 255, 255, 255, 255, 255, 255,
  255, 255, 255, 255, 255, 255, 255, 255, 255, 255, 255, 255,
  255, 248, 241, 234, 227, 220, 214, 207, 201, 194, 188, 182,
  176, 170, 164, 158, 152, 147, 141, 136, 130, 125, 120, 115,
  110, 105, 100,  96,  91,  87,  82,  78,  74,  70,  66,  62,
   58,  55,  51,  48,  44,  41,  38,  35,  32,  29,  27,  24,
   22,  19,  17,  15,  13,  12,  10,   8,   7,   6,   4,   3,
    2,   1,   0,   0,   0,   0,   0,   0,   0,   0,   0,   0,
    0,   0,   0,   0,   0,   0,   0,   0,   0,   0,   0,   0,
    0,   0,   0,   0,   0,   0,   0,   0,   0,   0,   0,   0,
    0,   0,   0,   0,   0,   0,   0,   0,   0,   0,   0,   0,
    0,   0,   0,   0,   0,   0,   0,   0,   0,   0,   0,   0
#endif
};
```

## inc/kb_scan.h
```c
/* Copyright 2026 Nok Hin, Siu

Licensed under the Apache License, Version 2.0 (the "License");
you may not use this file except in compliance with the License.
You may obtain a copy of the License at

    http://www.apache.org/licenses/LICENSE-2.0

Unless required by applicable law or agreed to in writing, software
distributed under the License is distributed on an "AS IS" BASIS,
WITHOUT WARRANTIES OR CONDITIONS OF ANY KIND, either express or implied.
See the License for the specific language governing permissions and
limitations under the License. */

#pragma once

#include <stdint.h>

#define KB_SCAN_FN_PRESSED 0x01
#define KB_SCAN_CAPS_LOCKED 0x02
#define KB_SCAN_SCROLL_LOCKED 0x06
#define KB_SCAN_LED_LOCKED 0x08

typedef struct {
  const uint8_t polling_ms;
  uint8_t value;
  uint8_t media_row;
  uint8_t media_col;
  uint8_t is_qdec_ready;
  int8_t (*push_report)(uint8_t *report, uint8_t size, k_ticks_t delay);
}__packed(kb_scan_cfg_t);

extern kb_scan_cfg_t scan_cfg1;

void kb_set_row(uint8_t idx);
uint8_t kb_get_col(uint8_t *report, uint8_t *id1_offset, uint8_t row_idx, kb_scan_cfg_t *cfg);
uint8_t translateMODkey(uint8_t code);
int8_t kb_report_push_usb(uint8_t *report, uint8_t size, k_ticks_t delay);
int8_t kb_report_push_ble(uint8_t *report, uint8_t size, k_ticks_t delay);
void kb_run_scan(void);
```

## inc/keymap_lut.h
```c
/* Copyright 2026 Nok Hin, Siu

Licensed under the Apache License, Version 2.0 (the "License");
you may not use this file except in compliance with the License.
You may obtain a copy of the License at

    http://www.apache.org/licenses/LICENSE-2.0

Unless required by applicable law or agreed to in writing, software
distributed under the License is distributed on an "AS IS" BASIS,
WITHOUT WARRANTIES OR CONDITIONS OF ANY KIND, either express or implied.
See the License for the specific language governing permissions and
limitations under the License. */

#pragma once

#include <stdint.h>
#include <zephyr/device.h>
#include <zephyr/devicetree.h>
#include <zephyr/usb/class/hid.h>
#include <zephyr/drivers/gpio.h>

struct key_mapping_t{
  uint8_t keycode[2];
  uint8_t report_idx[2];
  const int16_t led_idx;
  const int16_t led_x_position_in_1_8U;
  const int16_t led_y_position_in_1_8U;
  uint8_t single_brt;
  void (*on_set)(void);
  void (*on_reset)(void);
} __packed;

#define GPIO_SPEC_FROM_CHILD(child_id) GPIO_DT_SPEC_GET(child_id, gpios),

static const struct gpio_dt_spec kb_rows[] = {
  DT_FOREACH_CHILD_STATUS_OKAY(DT_NODELABEL(row_scan_array), GPIO_SPEC_FROM_CHILD)
};

static const struct gpio_dt_spec kb_cols[] = {
  DT_FOREACH_CHILD_STATUS_OKAY(DT_NODELABEL(col_scan_array), GPIO_SPEC_FROM_CHILD)
};

extern struct key_mapping_t keymap[ARRAY_SIZE(kb_rows)][ARRAY_SIZE(kb_cols) + 2];
```

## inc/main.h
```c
/* Copyright 2026 Nok Hin, Siu

Licensed under the Apache License, Version 2.0 (the "License");
you may not use this file except in compliance with the License.
You may obtain a copy of the License at

    http://www.apache.org/licenses/LICENSE-2.0

Unless required by applicable law or agreed to in writing, software
distributed under the License is distributed on an "AS IS" BASIS,
WITHOUT WARRANTIES OR CONDITIONS OF ANY KIND, either express or implied.
See the License for the specific language governing permissions and
limitations under the License. */

#pragma once

#include <stdint.h>
#include <zephyr/usb/usbd.h>
#include <zephyr/usb/class/usbd_hid.h>

int usb_init(struct usbd_context *sample_usbd);
int bt_init();
```

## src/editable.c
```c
/* Copyright 2026 Nok Hin, Siu

Licensed under the Apache License, Version 2.0 (the "License");
you may not use this file except in compliance with the License.
You may obtain a copy of the License at

    http://www.apache.org/licenses/LICENSE-2.0

Unless required by applicable law or agreed to in writing, software
distributed under the License is distributed on an "AS IS" BASIS,
WITHOUT WARRANTIES OR CONDITIONS OF ANY KIND, either express or implied.
See the License for the specific language governing permissions and
limitations under the License. */

#include "../inc/editable.h"
```

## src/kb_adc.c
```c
/* Copyright 2026 Nok Hin, Siu

Licensed under the Apache License, Version 2.0 (the "License");
you may not use this file except in compliance with the License.
You may obtain a copy of the License at

    http://www.apache.org/licenses/LICENSE-2.0

Unless required by applicable law or agreed to in writing, software
distributed under the License is distributed on an "AS IS" BASIS,
WITHOUT WARRANTIES OR CONDITIONS OF ANY KIND, either express or implied.
See the License for the specific language governing permissions and
limitations under the License. */

#include <zephyr/device.h>
#include <zephyr/drivers/adc.h>

#include <zephyr/logging/log.h>
LOG_MODULE_REGISTER(kb_adc, LOG_LEVEL_INF);

#include "../inc/kb_adc.h"

// #if !DT_NODE_HAS_PROP(DT_PATH(zephyr_user), io_channels)
// #error "No sample io-channels specified"
// #endif

// #define ADC_NODE DT_PHANDLE(DT_PATH(zephyr_user), io_channels)
// static const struct adc_dt_spec adc_channel = ADC_DT_SPEC_GET(DT_PATH(zephyr_user));

// int8_t kb_adc_init(){
//   int8_t ret = 0;
//   int16_t buf;
//   struct adc_sequence sequence = {
//       .buffer = &buf,
//       .buffer_size = sizeof(buf),
//   };

//   LOG_ERR("ADC reading example\n");

//   ret = adc_is_ready_dt(&adc_channel);
//   if (!ret) {
//       LOG_ERR("ADC controller device not ready\n");
//       return 0;
//   }

//   ret = adc_channel_setup_dt(&adc_channel);
//   if (ret < 0) {
//       LOG_ERR("Could not setup channel (err %d)\n", ret);
//       return 0;
//   }

//   ret = adc_sequence_init_dt(&adc_channel, &sequence);
//   if (ret < 0) {
//       LOG_ERR("Could not initialize sequence (err %d)\n", ret);
//       return 0;
//   }

//   return ret;
// }
```

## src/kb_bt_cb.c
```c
/* Copyright 2026 Nok Hin, Siu

Licensed under the Apache License, Version 2.0 (the "License");
you may not use this file except in compliance with the License.
You may obtain a copy of the License at

    http://www.apache.org/licenses/LICENSE-2.0

Unless required by applicable law or agreed to in writing, software
distributed under the License is distributed on an "AS IS" BASIS,
WITHOUT WARRANTIES OR CONDITIONS OF ANY KIND, either express or implied.
See the License for the specific language governing permissions and
limitations under the License. */

#include "../inc/kb_bt_cb.h"

#include <zephyr/kernel/thread.h>
#include <zephyr/device.h>
#include <zephyr/devicetree.h>
#include <zephyr/sys/reboot.h>

#include <zephyr/logging/log.h>
LOG_MODULE_REGISTER(kb_bt_cb, LOG_LEVEL_INF);

BT_CONN_CB_DEFINE(conn_callbacks) = {
	.connected = connected,
	.disconnected = disconnected,
	.security_changed = security_changed,
};

BT_GATT_SERVICE_DEFINE(hog_svc,
	BT_GATT_PRIMARY_SERVICE(BT_UUID_HIDS),
	BT_GATT_CHARACTERISTIC(BT_UUID_HIDS_INFO, BT_GATT_CHRC_READ, BT_GATT_PERM_READ, read_info, NULL, &info),
	BT_GATT_CHARACTERISTIC(BT_UUID_HIDS_REPORT_MAP, BT_GATT_CHRC_READ, BT_GATT_PERM_READ, read_report_map, NULL, NULL),
	BT_GATT_CHARACTERISTIC(BT_UUID_HIDS_REPORT, BT_GATT_CHRC_READ | BT_GATT_CHRC_NOTIFY, SAMPLE_BT_PERM_READ, read_input_report, NULL, NULL),
	BT_GATT_CCC(input_ccc_changed, SAMPLE_BT_PERM_READ | SAMPLE_BT_PERM_WRITE),
  BT_GATT_REPORTS_SERVICE,
	BT_GATT_CHARACTERISTIC(BT_UUID_HIDS_CTRL_POINT, BT_GATT_CHRC_WRITE_WITHOUT_RESP, BT_GATT_PERM_WRITE, NULL, write_ctrl_point, &ctrl_point),
);

const struct bt_data ad[] = {
	BT_DATA_BYTES(BT_DATA_FLAGS, (BT_LE_AD_GENERAL | BT_LE_AD_NO_BREDR)),
	BT_DATA_BYTES(BT_DATA_UUID16_ALL, BT_UUID_16_ENCODE(BT_UUID_HIDS_VAL), BT_UUID_16_ENCODE(BT_UUID_BAS_VAL)),
};

const struct bt_data sd[] = {
	BT_DATA(BT_DATA_NAME_COMPLETE, CONFIG_BT_DEVICE_NAME, sizeof(CONFIG_BT_DEVICE_NAME) - 1),
};

void connected(struct bt_conn *conn, uint8_t err){
	char addr[BT_ADDR_LE_STR_LEN];

	bt_addr_le_to_str(bt_conn_get_dst(conn), addr, sizeof(addr));

	if (err) {
		LOG_ERR("Failed to connect to %s, err 0x%02x %s", addr, err, bt_hci_err_to_str(err));
		return;
	}

	LOG_INF("Connected %s\n", addr);

	if (bt_conn_set_security(conn, BT_SECURITY_L2)) {
		LOG_ERR("Failed to set security");
	}
}

void disconnected(struct bt_conn *conn, uint8_t reason){
	char addr[BT_ADDR_LE_STR_LEN];

	bt_addr_le_to_str(bt_conn_get_dst(conn), addr, sizeof(addr));

	LOG_INF("Disconnected from %s, reason 0x%02x %s", addr, reason, bt_hci_err_to_str(reason));

  //sys_reboot(SYS_REBOOT_COLD);
}

void security_changed(struct bt_conn *conn, bt_security_t level, enum bt_security_err err){
	char addr[BT_ADDR_LE_STR_LEN];

	bt_addr_le_to_str(bt_conn_get_dst(conn), addr, sizeof(addr));

	if (!err) {
		LOG_INF("Security changed: %s level %u", addr, level);
	} else {
		LOG_ERR("Security failed: %s level %u err %s(%d)", addr, level, bt_security_err_to_str(err), err);
	}
}

void bt_ready(int err)
{
	if (err) {
		LOG_ERR("Bluetooth init failed (err %d)", err);
		return;
	}

  err = settings_subsys_init();
  if (err) {
    LOG_ERR("failed to init settings_subsys");
  }

	LOG_INF("Bluetooth initialized");

	//hog_init();

  err = settings_load();
  if (err) {
    LOG_ERR("failed to load settings");
    return;
  }
  
	err = bt_le_adv_start(BT_LE_ADV_CONN_FAST_1, ad, ARRAY_SIZE(ad), sd, ARRAY_SIZE(sd));
	if (err) {
		LOG_ERR("Advertising failed to start (err %d)", err);
		return;
	}

	LOG_INF("Advertising successfully started");
}

void auth_passkey_display(struct bt_conn *conn, unsigned int passkey)
{
	char addr[BT_ADDR_LE_STR_LEN];

	bt_addr_le_to_str(bt_conn_get_dst(conn), addr, sizeof(addr));

	LOG_WRN("Passkey for %s: %06u", addr, passkey);
}

void auth_cancel(struct bt_conn *conn)
{
	char addr[BT_ADDR_LE_STR_LEN];

	bt_addr_le_to_str(bt_conn_get_dst(conn), addr, sizeof(addr));

	LOG_WRN("Pairing cancelled: %s", addr);
}

struct hids_info info = {
	.version = 0x0001,
	.code = 0x00,
	.flags = HIDS_NORMALLY_CONNECTABLE,
};

struct bt_conn_auth_cb auth_cb_display = {
	.passkey_display = auth_passkey_display,
	.passkey_entry = NULL,
	.cancel = auth_cancel,
};

struct hids_report input[NUMBER_OF_REPORTS] = {
  { .id = 0x01, .type = HIDS_INPUT, },
  { .id = 0x02, .type = HIDS_INPUT, },
};

uint8_t is_ble_ready = 0;
uint8_t ctrl_point = 0;

ssize_t read_info(struct bt_conn *conn, const struct bt_gatt_attr *attr, void *buf, uint16_t len, uint16_t offset){
  LOG_INF("read_info called");
	return bt_gatt_attr_read(conn, attr, buf, len, offset, attr->user_data, sizeof(struct hids_info));
}

ssize_t read_report_map(struct bt_conn *conn, const struct bt_gatt_attr *attr, void *buf, uint16_t len, uint16_t offset){
  LOG_INF("read_report_map called");
	return bt_gatt_attr_read(conn, attr, buf, len, offset, hid_report_desc, sizeof(hid_report_desc));
}

ssize_t read_report(struct bt_conn *conn, const struct bt_gatt_attr *attr, void *buf, uint16_t len, uint16_t offset){
  LOG_INF("read_report called");
	return bt_gatt_attr_read(conn, attr, buf, len, offset, attr->user_data, sizeof(struct hids_report));
}

void input_ccc_changed(const struct bt_gatt_attr *attr, uint16_t value){
  LOG_INF("input_ccc_changed called, %d", value);
	is_ble_ready = (value == BT_GATT_CCC_NOTIFY) ? 1 : 0;
}

ssize_t read_input_report(struct bt_conn *conn, const struct bt_gatt_attr *attr, void *buf, uint16_t len, uint16_t offset){
  LOG_INF("read_input_report called");
	return bt_gatt_attr_read(conn, attr, buf, len, offset, NULL, 0);
}

ssize_t write_ctrl_point(struct bt_conn *conn, const struct bt_gatt_attr *attr, const void *buf, uint16_t len, uint16_t offset, uint8_t flags){
  LOG_INF("write_ctrl_point called");
	uint8_t *value = attr->user_data;

	if (offset + len > sizeof(ctrl_point)) {
		return BT_GATT_ERR(BT_ATT_ERR_INVALID_OFFSET);
	}

	memcpy(value + offset, buf, len);

	return len;
}

// void hog_button_loop(void){
//   int8_t ret = 0;
// 	uint8_t i = 0;
// 	uint8_t report[8] = {1, 0, 0, 0, 0, 0, 0, 0};
// 	k_sleep(K_MSEC(3000));
// 	for (;;) {
// 		k_sleep(K_MSEC(900));
// 		report[2] = (i++ % 26) + 4;
// 		ret = bt_gatt_notify(NULL, &hog_svc.attrs[5], report, KB1_REPORT_COUNT);
//     LOG_INF("bt report notify: %d", ret);
// 		k_sleep(K_MSEC(100));
// 		report[2] = 0;
// 		bt_gatt_notify(NULL, &hog_svc.attrs[5], report, KB1_REPORT_COUNT);
// 	}
// }

int8_t kb_bt_send_report_id(uint8_t *report, uint8_t size, k_ticks_t delay){
  if (delay < k_ms_to_ticks_floor64(10)) {
    k_sleep(K_TICKS(k_ms_to_ticks_floor64(10) - delay));
  }
  
  if(BT_PUSH_REPORTS_PRECHECK) return -128;

  if (is_ble_ready) {
    return bt_gatt_notify(NULL, &hog_svc.attrs[report[0] + 4], &report[1], size - 1);
  }

  return -128;
}
```
